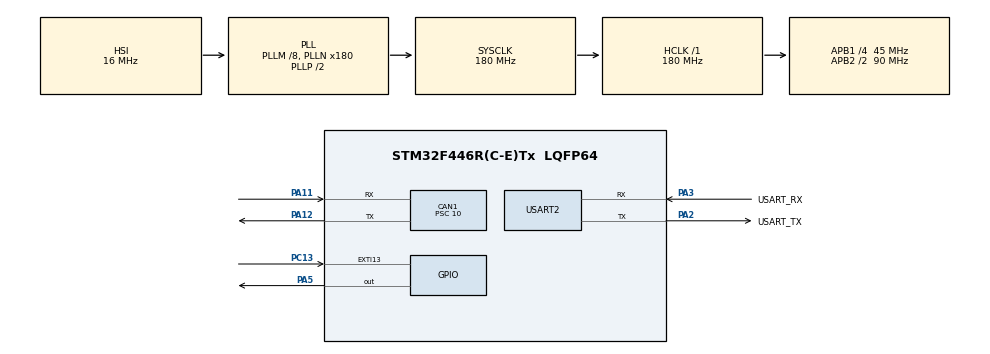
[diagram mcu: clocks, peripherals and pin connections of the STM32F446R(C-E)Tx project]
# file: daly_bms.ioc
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CAN1.BS1=CAN_BS1_15TQ
CAN1.BS2=CAN_BS2_2TQ
CAN1.CalculateBaudRate=250000
CAN1.CalculateTimeBit=4000
CAN1.CalculateTimeQuantum=222.22222222222223
CAN1.Prescaler=10
Mcu.Family=STM32F4
Mcu.Name=STM32F446R(C-E)Tx
Mcu.Package=LQFP64
NUCLEO-F446RE.BUTTON=1
NUCLEO-F446RE.LD1=true
NVIC.EXTI15_10_IRQn=true\:0\:0\:false\:false\:true\:false\:true\:true
NVIC.PriorityGroup=NVIC_PRIORITYGROUP_0
NVIC.TIM1_UP_TIM10_IRQn=true\:0\:0\:false\:false\:true\:false\:true\:true
NVIC.TimeBase=TIM1_UP_TIM10_IRQn
NVIC.TimeBaseIP=TIM1
PA11.Mode=CAN_Activate
PA11.Signal=CAN1_RX
PA12.Mode=CAN_Activate
PA12.Signal=CAN1_TX
PA13.GPIO_Label=TMS
PA13.Mode=Serial_Wire
PA13.Signal=SYS_JTMS-SWDIO
PA14.GPIO_Label=TCK
PA14.Mode=Serial_Wire
PA14.Signal=SYS_JTCK-SWCLK
PA2.GPIO_Label=USART_TX
PA2.Mode=Asynchronous
PA2.Signal=USART2_TX
PA3.GPIO_Label=USART_RX
PA3.Mode=Asynchronous
PA3.Signal=USART2_RX
PA5.Signal=GPIO_Output
PB3.GPIO_Label=SWO
PB3.Signal=SYS_JTDO-SWO
PC13.Signal=GPXTI13
PC14-OSC32_IN.Mode=LSE-External-Oscillator
PC14-OSC32_IN.Signal=RCC_OSC32_IN
PC15-OSC32_OUT.Mode=LSE-External-Oscillator
PC15-OSC32_OUT.Signal=RCC_OSC32_OUT
PH0-OSC_IN.Mode=HSE-External-Oscillator
PH0-OSC_IN.Signal=RCC_OSC_IN
PH1-OSC_OUT.Mode=HSE-External-Oscillator
PH1-OSC_OUT.Signal=RCC_OSC_OUT
ProjectManager.HeapSize=0x200
ProjectManager.StackSize=0x400
ProjectManager.TargetToolchain=STM32CubeIDE
RCC.AHBFreq_Value=180000000
RCC.APB1CLKDivider=RCC_HCLK_DIV4
RCC.APB1Freq_Value=45000000
RCC.APB1TimFreq_Value=90000000
RCC.APB2CLKDivider=RCC_HCLK_DIV2
RCC.APB2Freq_Value=90000000
RCC.APB2TimFreq_Value=180000000
RCC.CortexFreq_Value=180000000
RCC.FLatency-AdvancedSettings=FLASH_LATENCY_5
RCC.HCLKFreq_Value=180000000
RCC.HSE_VALUE=8000000
RCC.HSI_VALUE=16000000
RCC.PLLM=8
RCC.PLLN=180
RCC.SYSCLKFreq_VALUE=180000000
RCC.SYSCLKSource=RCC_SYSCLKSOURCE_PLLCLK
RCC.USBFreq_Value=180000000
RCC.VCOOutputFreq_Value=360000000
USART2.VirtualMode=VM_ASYNC
VP_NUCLEO-F446RE_VS_BSP_COMMON.Mode=COMMON
VP_SYS_VS_tim1.Mode=TIM1
board=NUCLEO-F446RE

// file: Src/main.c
/* USER CODE BEGIN Header */
/**
  ******************************************************************************
  * @file           : main.c
  * @brief          : Main program body
  ******************************************************************************
  * @attention
  *
  * Copyright (c) 2026 STMicroelectronics.
  * All rights reserved.
  *
  * This software is licensed under terms that can be found in the LICENSE file
  * in the root directory of this software component.
  * If no LICENSE file comes with this software, it is provided AS-IS.
  *
  ******************************************************************************
  */
/* USER CODE END Header */
#include "main.h"
#include <stdio.h>

/* USER CODE BEGIN Includes */
#include "daly_can.h"
/* USER CODE END Includes */

CAN_HandleTypeDef hcan1;

UART_HandleTypeDef huart2;

void SystemClock_Config(void);
static void MX_GPIO_Init(void);
static void MX_CAN1_Init(void);
static void MX_USART2_UART_Init(void);

int main(void)
{

  /* MCU Configuration--------------------------------------------------------*/

  /* Reset of all peripherals, Initializes the Flash interface and the Systick. */
  HAL_Init();

  /* Configure the system clock */
  SystemClock_Config();

  /* Initialize all configured peripherals */
  MX_GPIO_Init();
  MX_CAN1_Init();
  MX_USART2_UART_Init();
  /* USER CODE BEGIN 2 */
  Daly_CAN_Init(&hcan1);
  /* USER CODE END 2 */

  /* Initialize leds */
  BSP_LED_Init(LED2);

  /* Initialize USER push-button, will be used to trigger an interrupt each time it's pressed.*/
  BSP_PB_Init(BUTTON_USER, BUTTON_MODE_EXTI);

  /* Infinite loop */
  while (1)
  {

    /* USER CODE BEGIN 3 */
	  CAN_TxHeaderTypeDef head;
	  head.DLC=8;
	  head.ExtId=0x147689A;
	  head.IDE=CAN_ID_EXT ;
	  head.RTR=CAN_RTR_DATA;
	  uint8_t dat[8]={9,0,3,7,8,0,1,2};
      uint32_t mailbox;
	 if( HAL_CAN_AddTxMessage(&hcan1, &head, dat, &mailbox)==HAL_OK)
	 {printf("MEssage transmit");

	 }
	  static uint32_t lastPoll = 0;
	      if (HAL_GetTick() - lastPoll > 200)
	      {
	          Daly_CAN_PollAll(&hcan1);
	          lastPoll = HAL_GetTick();

	          if (Daly_IsDataFresh(1000)) {
	              const DalyBmsData_t *d = Daly_GetData();
	              printf("V=%.1f I=%.1f SOC=%.1f%% maxCell=%umV minCell=%umV\r\n",
	                     d->total_voltage_V, d->current_A, d->soc_pct,
	                     d->max_cell_mV, d->min_cell_mV);
	          } else {
	              printf("No fresh CAN data\r\n");
	          }
	      }
  	  }
  /* USER CODE END 3 */
}

void SystemClock_Config(void)
{
  RCC_OscInitTypeDef RCC_OscInitStruct = {0};
  RCC_ClkInitTypeDef RCC_ClkInitStruct = {0};

  /** Configure the main internal regulator output voltage
  */
  __HAL_RCC_PWR_CLK_ENABLE();
  __HAL_PWR_VOLTAGESCALING_CONFIG(PWR_REGULATOR_VOLTAGE_SCALE1);

  /** Initializes the RCC Oscillators according to the specified parameters
  * in the RCC_OscInitTypeDef structure.
  */
  RCC_OscInitStruct.OscillatorType = RCC_OSCILLATORTYPE_HSI;
  RCC_OscInitStruct.HSIState = RCC_HSI_ON;
  RCC_OscInitStruct.HSICalibrationValue = RCC_HSICALIBRATION_DEFAULT;
  RCC_OscInitStruct.PLL.PLLState = RCC_PLL_ON;
  RCC_OscInitStruct.PLL.PLLSource = RCC_PLLSOURCE_HSI;
  RCC_OscInitStruct.PLL.PLLM = 8;
  RCC_OscInitStruct.PLL.PLLN = 180;
  RCC_OscInitStruct.PLL.PLLP = RCC_PLLP_DIV2;
  RCC_OscInitStruct.PLL.PLLQ = 2;
  RCC_OscInitStruct.PLL.PLLR = 2;
  if (HAL_RCC_OscConfig(&RCC_OscInitStruct) != HAL_OK)
  {
    Error_Handler();
  }

  /** Activate the Over-Drive mode
  */
  if (HAL_PWREx_EnableOverDrive() != HAL_OK)
  {
    Error_Handler();
  }

  /** Initializes the CPU, AHB and APB buses clocks
  */
  RCC_ClkInitStruct.ClockType = RCC_CLOCKTYPE_HCLK|RCC_CLOCKTYPE_SYSCLK
                              |RCC_CLOCKTYPE_PCLK1|RCC_CLOCKTYPE_PCLK2;
  RCC_ClkInitStruct.SYSCLKSource = RCC_SYSCLKSOURCE_PLLCLK;
  RCC_ClkInitStruct.AHBCLKDivider = RCC_SYSCLK_DIV1;
  RCC_ClkInitStruct.APB1CLKDivider = RCC_HCLK_DIV4;
  RCC_ClkInitStruct.APB2CLKDivider = RCC_HCLK_DIV2;

  if (HAL_RCC_ClockConfig(&RCC_ClkInitStruct, FLASH_LATENCY_5) != HAL_OK)
  {
    Error_Handler();
  }
}

static void MX_CAN1_Init(void)
{

  hcan1.Instance = CAN1;
  hcan1.Init.Prescaler = 10;
  hcan1.Init.Mode = CAN_MODE_NORMAL;
  hcan1.Init.SyncJumpWidth = CAN_SJW_1TQ;
  hcan1.Init.TimeSeg1 = CAN_BS1_15TQ;
  hcan1.Init.TimeSeg2 = CAN_BS2_2TQ;
  hcan1.Init.TimeTriggeredMode = DISABLE;
  hcan1.Init.AutoBusOff = DISABLE;
  hcan1.Init.AutoWakeUp = DISABLE;
  hcan1.Init.AutoRetransmission = DISABLE;
  hcan1.Init.ReceiveFifoLocked = DISABLE;
  hcan1.Init.TransmitFifoPriority = DISABLE;
  if (HAL_CAN_Init(&hcan1) != HAL_OK)
  {
    Error_Handler();
  }

}

static void MX_USART2_UART_Init(void)
{

  huart2.Instance = USART2;
  huart2.Init.BaudRate = 115200;
  huart2.Init.WordLength = UART_WORDLENGTH_8B;
  huart2.Init.StopBits = UART_STOPBITS_1;
  huart2.Init.Parity = UART_PARITY_NONE;
  huart2.Init.Mode = UART_MODE_TX_RX;
  huart2.Init.HwFlowCtl = UART_HWCONTROL_NONE;
  huart2.Init.OverSampling = UART_OVERSAMPLING_16;
  if (HAL_UART_Init(&huart2) != HAL_OK)
  {
    Error_Handler();
  }

}

static void MX_GPIO_Init(void)
{

  /* GPIO Ports Clock Enable */
  __HAL_RCC_GPIOC_CLK_ENABLE();
  __HAL_RCC_GPIOH_CLK_ENABLE();
  __HAL_RCC_GPIOA_CLK_ENABLE();
  __HAL_RCC_GPIOB_CLK_ENABLE();

}

/* USER CODE BEGIN 4 */
	void HAL_CAN_RxFifo0MsgPendingCallback(CAN_HandleTypeDef *hcan)
	{
		Daly_CAN_HandleRxFrame(hcan);
	}

	extern UART_HandleTypeDef huart2;

	int _write(int file, char *ptr, int len)
	{
	    HAL_UART_Transmit(&huart2, (uint8_t *)ptr, len, HAL_MAX_DELAY);
	    return len;
	}
/* USER CODE END 4 */

void HAL_TIM_PeriodElapsedCallback(TIM_HandleTypeDef *htim)
{
  if (htim->Instance == TIM1)
  {
    HAL_IncTick();
  }
}

void Error_Handler(void)
{
  __disable_irq();
  while (1)
  {
  }
}
